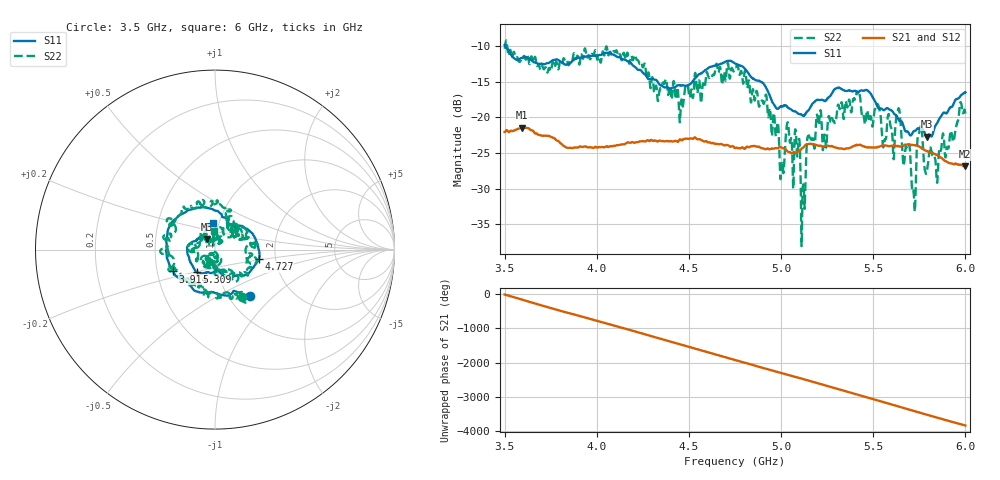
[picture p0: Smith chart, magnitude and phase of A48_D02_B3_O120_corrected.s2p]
! Created with skrf 1.9.0 (http://scikit-rf.org).
# Hz S RI R 50.0
!freq ReS11 ImS11 ReS21 ImS21 ReS12 ImS12 ReS22 ImS22
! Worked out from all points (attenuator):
!   1601 points, 3.5 GHz to 6 GHz, reference 50 ohm
!   highest |S21| = -21.44 dB at 3.594 GHz (marker M1); lowest = -26.9 dB at 5.998 GHz (marker M2)
!   lowest |S11| = -22.7 dB at 5.791 GHz (marker M3), VSWR 1.16, Z = 45.5 + j5.38 ohm
!   |S11| at or under -10 dB: 3.506 GHz to end of sweep
!   |S22| runs from -38.1 to -9.2 dB; largest |S21 - S12| = 0.001
!   S11 on the Smith chart (normalised r, x): 3.5 GHz: 1.25, -0.72; 3.914 GHz: 0.61, -0.16; 4.727 GHz: 1.63, -0.18; 5.309 GHz: 0.79, -0.21; 6 GHz: 0.94, +0.29
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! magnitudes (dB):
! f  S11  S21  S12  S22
! 3.5 GHz  -9.8  -22.0  -22.1  -10.3
! 3.594 GHz  -11.6  -21.4  -21.5  -12.2
! 3.914 GHz  -11.6  -24.1  -24.1  -11.3
! 3.917 GHz  -11.6  -24.1  -24.1  -11.1
! 4.334 GHz  -15.2  -23.3  -23.3  -17.4
! 4.727 GHz  -12.1  -24.1  -24.0  -13.7
! 4.75 GHz  -12.4  -24.3  -24.2  -13.1
! 4.914 GHz  -15.6  -24.5  -24.4  -17.1
! 5.005 GHz  -18.4  -24.3  -24.3  -26.4
! 5.034 GHz  -18.5  -24.8  -24.7  -20.8
! 5.088 GHz  -19.4  -24.9  -24.9  -25.5
! 5.119 GHz  -19.7  -24.3  -24.2  -29.5
! 5.147 GHz  -19.0  -23.7  -23.7  -22.7
! 5.167 GHz  -18.2  -23.7  -23.7  -23.1
! 5.309 GHz  -15.8  -24.3  -24.3  -18.2
! 5.584 GHz  -18.8  -24.0  -24.0  -19.5
! 5.638 GHz  -20.3  -24.0  -24.0  -18.7
! 5.719 GHz  -22.0  -23.9  -23.8  -30.5
! 5.752 GHz  -21.6  -24.1  -24.1  -21.8
! 5.791 GHz  -22.7  -24.7  -24.7  -27.7
! 5.998 GHz  -16.5  -26.9  -26.8  -19.2
! 6 GHz  -16.5  -26.9  -26.8  -19.5
